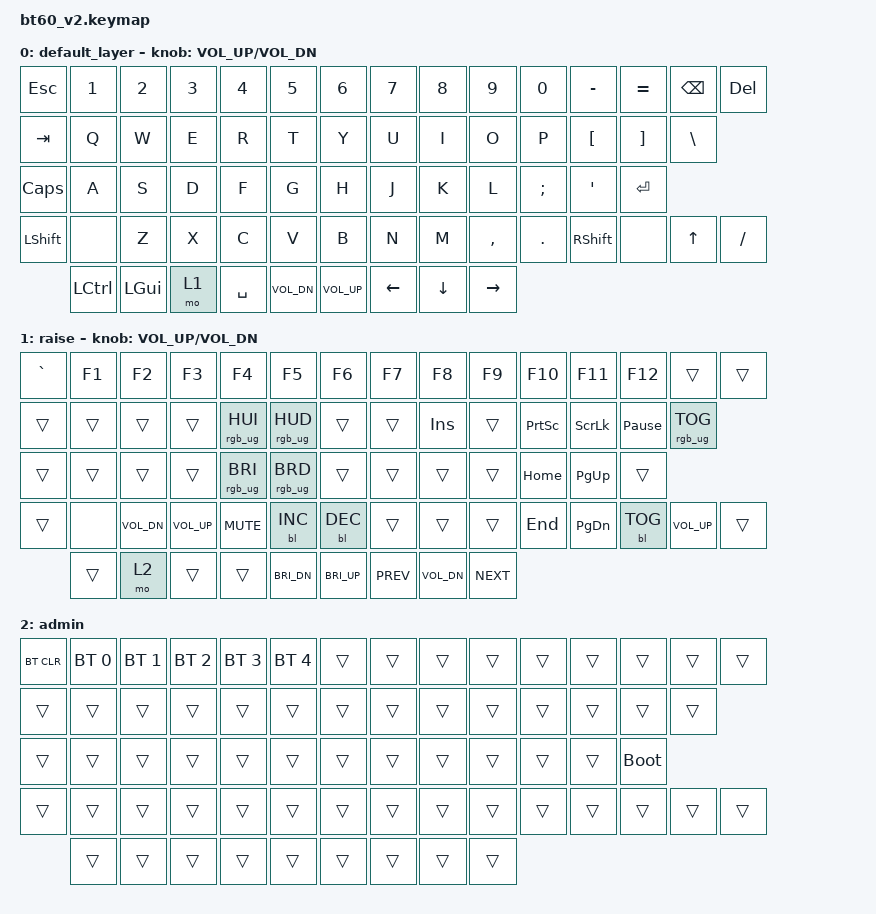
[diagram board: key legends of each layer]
#include <behaviors.dtsi>
#include <dt-bindings/zmk/backlight.h>
#include <dt-bindings/zmk/bt.h>
#include <dt-bindings/zmk/keys.h>
#include <dt-bindings/zmk/rgb.h>

//#define ANSI
//#define ISO

#define ALL_1U

//#define HHKB

/ {
    chosen {
        #ifdef ANSI

        zmk,matrix-transform = &ansi_transform;

        #elif defined(ISO)

        zmk,matrix-transform = &iso_transform;

        #elif defined(ALL_1U)

        zmk,matrix-transform = &all_1u_transform;

        #elif defined(HHKB)

        zmk,matrix-transform = &hhkb_transform;

        #else
  #error "Layout not defined, please define a layout by uncommenting the appropriate line in bt60_v2.keymap"
  #endif
    };

    macros {
        reset_bluetooth_0: reset_bluetooth_0 {
            compatible = "zmk,behavior-macro";
            #binding-cells = <0>;
            bindings =
                <&macro_tap>,
                <&bt BT_CLR &bt BT_SEL 0>;
            label = "RESET_BLUETOOTH_0";
        };
    };

    keymap {
        compatible = "zmk,keymap";

        default_layer {
            // ------------------------------------------------------------------------------------------
            // | ESC |  1  |  2  |  3  |  4  |  5  |  6  |  7  |  8  |  9  |  0  |  -  |  =  |BKSP | DEL |
            // | TAB   |  Q  |  W  |  E  |  R  |  T  |  Y  |  U  |  I  |  O  |  P  |  [  |  ]  |    \    |
            // | CAPS   |  A  |  S  |  D  |  F  |  G  |  H  |  J  |  K  |  L  |  ;  |  '  |     ENTER    |
            // | SHFT  |NONE|  Z  |  X  |  C  |  V  |  B  |  N  |  M  |  ,  |  .  | SHFT | NONE| UP |  / |
            // |  CTL  |  WIN  |  1  |             SPACE              | VOL-| VOL+ | LEFT | DOWN | RIGHT |
            // ------------------------------------------------------------------------------------------

            bindings = <
&kp ESC    &kp N1     &kp N2    &kp N3  &kp N4     &kp N5        &kp N6        &kp N7    &kp N8    &kp N9     &kp N0    &kp MINUS  &kp EQUAL  &kp BSPC  &kp DEL
&kp TAB    &kp Q      &kp W     &kp E   &kp R      &kp T         &kp Y         &kp U     &kp I     &kp O      &kp P     &kp LBKT   &kp RBKT   &kp BSLH
&kp CLCK   &kp A      &kp S     &kp D   &kp F      &kp G         &kp H         &kp J     &kp K     &kp L      &kp SEMI  &kp SQT    &kp RET
&kp LSHFT  &none      &kp Z     &kp X   &kp C      &kp V         &kp B         &kp N     &kp M     &kp COMMA  &kp DOT   &kp RSHFT  &none      &kp UP    &kp FSLH
           &kp LCTRL  &kp LGUI  &mo 1   &kp SPACE  &kp C_VOL_DN  &kp C_VOL_UP  &kp LEFT  &kp DOWN  &kp RIGHT
            >;

            sensor-bindings = <&inc_dec_kp C_VOL_UP C_VOL_DN>;
        };

        raise {
            // ------------------------------------------------------------------------------------------
            // |GRAVE| F1  | F2  | F3  | F4  | F5  | F6  | F7  | F8  | F9  | F10 | F11 | F12 |BKSP | DEL |
            // | TAB  |  Q  |  W  |  E  | HUI | HUD |  Y  |  U  | INS |  O  |PSCRN| SLCK| P_B | RGB_TOG  |
            // | CAPS  |  A  |  S  |  D  | BRI | BRD |  H  |  J  |  K  |  L  | HOME| PGUP|      BOOT     |
            // | SHFT |NONE|VOLDN|VOLUP|MUTE|BLINC|BLDEC|  N  |  M  |  ,  | END | PGDN | BL_TOG | VOL+ | BT_CLR  |
            // | BT_PRV| BT_NXT|  1   |         SPACE           | BRIGHT- | BRIGHT+| PREV |VOL-| NEXT |
            // ------------------------------------------------------------------------------------------

            bindings = <
&kp GRAVE  &kp F1  &kp F2        &kp F3        &kp F4           &kp F5           &kp F6        &kp F7      &kp F8        &kp F9      &kp F10    &kp F11    &kp F12          &trans           &trans
&trans     &trans  &trans        &trans        &rgb_ug RGB_HUI  &rgb_ug RGB_HUD  &trans        &trans      &kp INS       &trans      &kp PSCRN  &kp SLCK   &kp PAUSE_BREAK  &rgb_ug RGB_TOG
&trans     &trans  &trans        &trans        &rgb_ug RGB_BRI  &rgb_ug RGB_BRD  &trans        &trans      &trans        &trans      &kp HOME   &kp PG_UP  &trans
&trans     &none   &kp C_VOL_DN  &kp C_VOL_UP  &kp C_MUTE       &bl BL_INC       &bl BL_DEC    &trans      &trans        &trans      &kp END    &kp PG_DN  &bl BL_TOG       &kp C_VOL_UP     &trans
           &trans  &mo 2         &trans        &trans           &kp C_BRI_DN     &kp C_BRI_UP  &kp C_PREV  &kp C_VOL_DN  &kp C_NEXT
            >;

            sensor-bindings = <&inc_dec_kp C_VOL_UP C_VOL_DN>;
        };

        admin {
            bindings = <
&bt BT_CLR &bt BT_SEL 0 &bt BT_SEL 1 &bt BT_SEL 2 &bt BT_SEL 3 &bt BT_SEL 4 &trans  &trans  &trans  &trans  &trans  &trans  &trans       &trans  &trans
&trans            &trans  &trans  &trans  &trans  &trans  &trans  &trans  &trans  &trans  &trans  &trans  &trans       &trans
&trans            &trans  &trans  &trans  &trans  &trans  &trans  &trans  &trans  &trans  &trans  &trans  &bootloader
&trans            &trans  &trans  &trans  &trans  &trans  &trans  &trans  &trans  &trans  &trans  &trans  &trans       &trans  &trans
                  &trans  &trans  &trans  &trans  &trans  &trans  &trans  &trans  &trans
            >;
        };
    };
};
